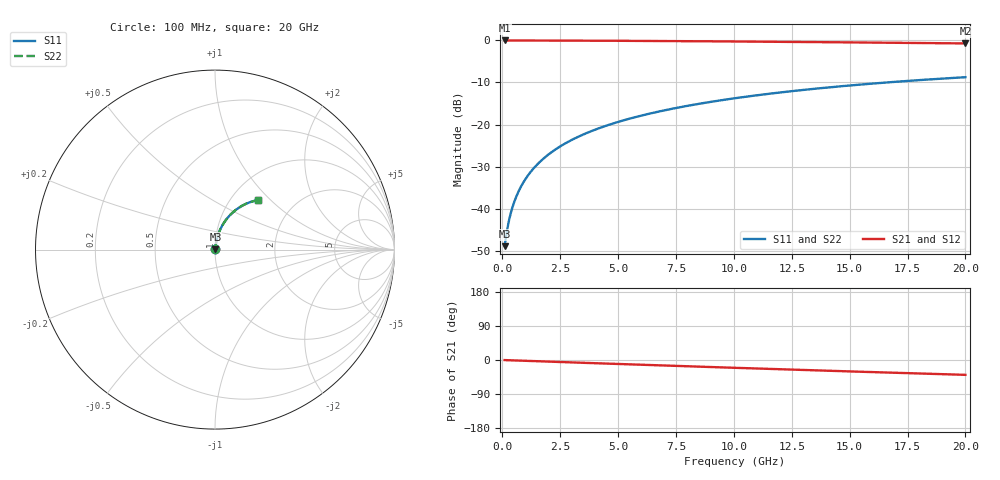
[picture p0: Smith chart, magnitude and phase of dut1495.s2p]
! Touchstone file exported from HFSS 2026.1.0
!  File:  C:/ffzhzh/LocalFiles/Ansys_Project_Files/temp_train_BSMRDL_1495_1783181633_22436.aedt
!  Generated:  12:15:08 AM Jul  5, 2026
!  Design:  BSMRDL
!  Project:  temp_train_BSMRDL_1495_1783181633_22436
! Variables:
!  h_bsmrdl = 4.85um
!  h_ox = 20um
!  h_rdl = 5um
!  h_sub = 80um
!  h_tmrdl = 5um
!  h_tsv = 80um
!  h_via = 3um
!  l_bsmrdl = 576.99um
!  l_sub = 976.99um
!  l_tmrdl = 200um
!  m_sub = 200um
!  pitch = 40.78um
!  r_tsv = 6um
!  s_tmrdl = 10um
!  w_bsmrdl = 16.3um
!  w_sub = 500um
!  w_tmrdl = 12um
!  x_tsv_center1 = 206um
!  x_tsv_center2 = 799.29um
!  x_tsv_center3 = 1011.29um
!  x_tsv_center4 = 1604.58um
!  x_tsv_center5 = 1816.58um
!  x_tsv_center6 = 2409.87um
# GHz S MA R 50.000000
! Terminal data exported
! Port[1] = BSM_RDL1_1_T1
! Port[2] = BSM_RDL1_1_T2
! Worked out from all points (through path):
!   200 points, 100 MHz to 20 GHz, reference 50 ohm
!   highest |S21| = -0.02 dB at 100 MHz (marker M1); lowest = -0.7 dB at 20 GHz (marker M2)
!   group delay of S21, straight-line fit = 5.44 ps
!   lowest |S11| = -48.9 dB at 100 MHz (marker M3), VSWR 1.01, Z = 50.3 + j0.237 ohm
!   |S11| at or under -10 dB: start of sweep to 16.61 GHz
!   |S22| runs from -48.9 to -8.8 dB; largest |S21 - S12| = 3.3e-15
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0.1  0.00359 41.1  0.9973 -0.2  0.9973 -0.2  0.00359 41.1
! Gamma 0 0 0 0
! Port Impedance 50 0 50 0
0.2  0.005448 58.5  0.9972 -0.4  0.9972 -0.4  0.005448 58.5
0.3  0.007493 66.4  0.9971 -0.7  0.9971 -0.7  0.007493 66.4
0.4  0.009586 70.9  0.997 -0.9  0.997 -0.9  0.009586 70.9
0.5  0.0117 73.7  0.9969 -1.1  0.9969 -1.1  0.0117 73.7
0.6  0.01384 75.7  0.9968 -1.3  0.9968 -1.3  0.01384 75.7
0.8  0.01815 78.1  0.9966 -1.7  0.9966 -1.7  0.01815 78.1
1.1  0.02466 79.9  0.9964 -2.4  0.9964 -2.4  0.02466 79.9
1.5  0.03336 80.7  0.9959 -3.2  0.9959 -3.2  0.03336 80.7
1.8  0.03988 80.8  0.9955 -3.8  0.9955 -3.8  0.03988 80.8
2.1  0.04637 80.7  0.995 -4.5  0.995 -4.5  0.04637 80.7
2.7  0.05927 80.1  0.9939 -5.7  0.9939 -5.7  0.05927 80.1
3.5  0.07625 78.9  0.9922 -7.4  0.9922 -7.4  0.07625 78.9
4.2  0.09088 77.7  0.9904 -8.9  0.9904 -8.9  0.09088 77.7
5  0.1074 76.3  0.9882 -10.5  0.9882 -10.5  0.1074 76.3
5.9  0.1256 74.6  0.9854 -12.3  0.9854 -12.3  0.1256 74.6
6.8  0.1435 72.9  0.9824 -14.2  0.9824 -14.2  0.1435 72.9
8.3  0.1726 70.1  0.9769 -17.2  0.9769 -17.2  0.1726 70.1
10.1  0.2063 66.8  0.9695 -20.7  0.9695 -20.7  0.2064 66.8
13.4  0.2646 60.7  0.9543 -27.1  0.9543 -27.1  0.2646 60.7
16.7  0.3176 54.8  0.9373 -33.3  0.9373 -33.3  0.3176 54.8
20  0.3651 49.0  0.9195 -39.2  0.9195 -39.2  0.3651 49.0
